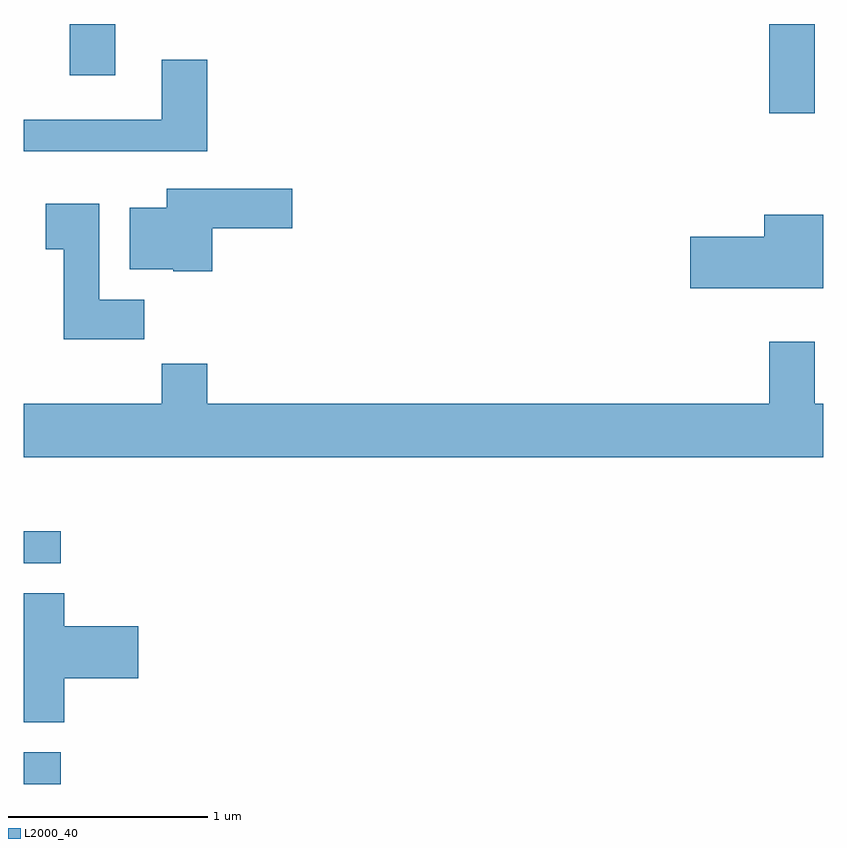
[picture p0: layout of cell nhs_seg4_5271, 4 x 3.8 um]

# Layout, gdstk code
import gdstk
lib = gdstk.Library(unit=1e-6, precision=1e-09)
def R(c, l, rs):  # rectangles x0, y0, x1, y1
    for r in rs: c.add(gdstk.rectangle(r[:2], r[2:], *l))
def P(c, l, *ps):  # polygons
    for p in ps: c.add(gdstk.Polygon(p, *l))
L2000_40 = (2000, 40)

nhs_seg4_5271 = lib.new_cell('nhs_seg4_5271')
R(nhs_seg4_5271, L2000_40, [(339.611,1324.181,339.798,1324.339), (339.611,1325.286,339.798,1325.444), (343.341,1327.536,343.569,1327.982), (339.841,1327.726,340.069,1327.982)])
P(nhs_seg4_5271, L2000_40, [(340.529,1327.804),(340.301,1327.804),(340.301,1327.504),(339.611,1327.504),(339.611,1327.346),(340.529,1327.346)],
  [(340.554,1326.961),(340.954,1326.961),(340.954,1327.159),(340.326,1327.159),(340.326,1327.064),(340.141,1327.064),(340.141,1326.756),(340.36,1326.756),(340.36,1326.746),(340.554,1326.746)],
  [(340.214,1326.604),(339.989,1326.604),(339.989,1327.084),(339.721,1327.084),(339.721,1326.856),(339.811,1326.856),(339.811,1326.406),(340.214,1326.406)],
  [(343.611,1327.029),(343.316,1327.029),(343.316,1326.919),(342.946,1326.919),(342.946,1326.661),(343.611,1326.661)],
  [(343.611,1326.084),(343.569,1326.084),(343.569,1326.394),(343.341,1326.394),(343.341,1326.084),(340.529,1326.084),(340.529,1326.284),(340.301,1326.284),(340.301,1326.084),(339.611,1326.084),(339.611,1325.816),(343.611,1325.816)],
  [(339.814,1324.711),(340.184,1324.711),(340.184,1324.969),(339.814,1324.969),(339.814,1325.134),(339.611,1325.134),(339.611,1324.491),(339.814,1324.491)])

lib.write_gds('nhs_seg4_5271.gds')
